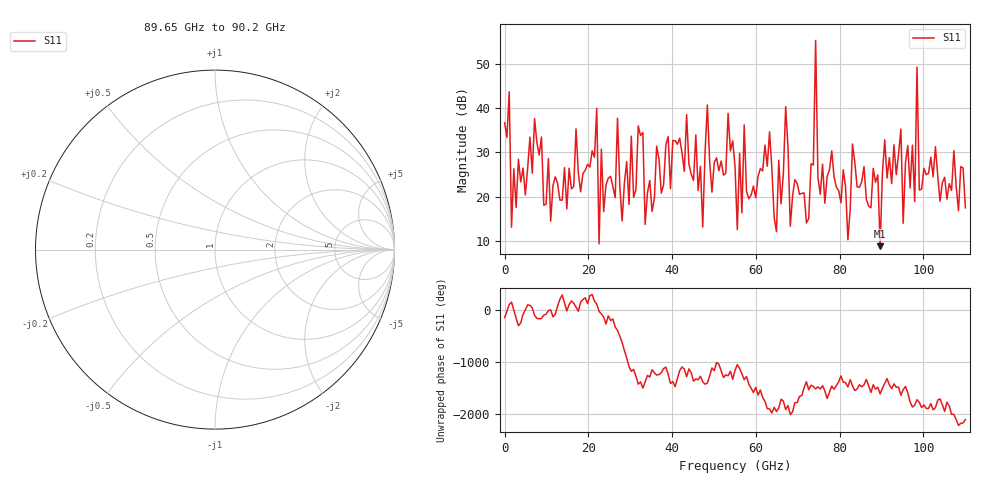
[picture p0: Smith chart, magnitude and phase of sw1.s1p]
#  HZ  S  RI  R  50.00
! Rohde & Schwarz ZVA67 4Ports - Version 4.11 - 1305.7002k04 SN: 101032
! Date: 2026-02-18 09:42:36
! Measurement: a1d2/b1d2sam
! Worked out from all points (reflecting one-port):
!   201 points, 20 MHz to 110 GHz, reference 50 ohm
!   lowest |S11| = 8.8 dB at 89.65 GHz (marker M1)
!   phase of S11 starts at -140 deg and turns -1971 deg over the sweep
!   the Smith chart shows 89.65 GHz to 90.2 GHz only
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2e7  -52.9 -43.64
5.699e8  43.97 -16.09
1.1198e9  -61.16 141.5
1.6697e9  -4.18 1.666
6.0689e9  -6.258 46.74
7.1687e9  -9.567 -76.07
1.37675e10  4.268 -8.06
2.09162e10  19.47 -26.72
2.2016e10  -51.19 85.93
2.31158e10  12.29 -32.19
2.7515e10  -9.733 -9.03
4.12625e10  -20.81 33.24
4.84112e10  89.91 61.83
4.89611e10  -24.61 2.411
5.33603e10  -87.4 8.599
5.501e10  3.996 -21.79
6.87575e10  -9.515 -3.686
7.37066e10  19.63 -11.61
7.42565e10  122.8 -574.4
7.48064e10  13.21 -9.662
8.2505e10  -1.335 6.983
8.96537e10  -2.737 -0.2023
9.62525e10  -34.47 -15.84
9.79022e10  7.406 -4.728
9.84521e10  84.38 281.1
9.9002e10  10.9 4.605
9.95519e10  2.234 -11.98
1.1e11  4.888 5.62
